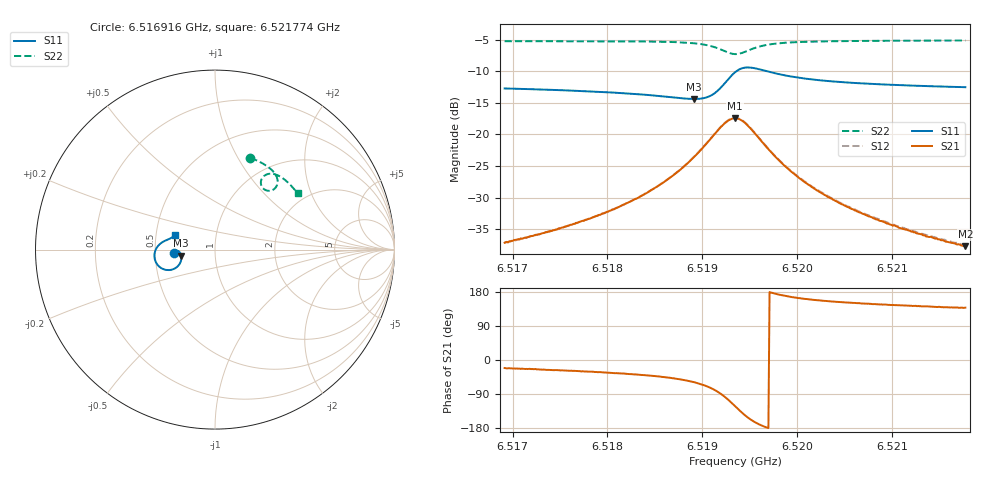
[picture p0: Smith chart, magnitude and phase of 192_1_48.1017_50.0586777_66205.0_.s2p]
#  HZ  S  RI  R  50.00
! Rohde & Schwarz Vector Network Analyzer
! Rohde-Schwarz,ZNB20-2Port,1311601062101988,3.16
! Created: UTC 12/23/2023, 3:53:51 AM
! freq[Hz]  re:S11  im:S11  re:S21  im:S21  re:S12  im:S12  re:S22  im:S22
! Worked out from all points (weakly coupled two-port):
!   401 points, 6.516916 GHz to 6.521774 GHz, reference 50 ohm
!   highest |S21| = -17.43 dB at 6.519345 GHz (marker M1); lowest = -37.7 dB at 6.521774 GHz (marker M2)
!   lowest |S11| = -14.4 dB at 6.518908 GHz (marker M3), VSWR 1.47, Z = 34.1 - j2.37 ohm
!   |S11| at or under -10 dB: start of sweep to 6.519357 GHz; 6.519687 GHz to end of sweep
!   |S22| runs from -7.3 to -5.1 dB; largest |S21 - S12| = 0.0041
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6.516916e9  -0.2309 -0.0186  0.0129 -0.00502  0.013 -0.00462  0.1973 0.5114
6.5173046e9  -0.2267 -0.0127  0.0148 -0.007  0.015 -0.00656  0.226 0.4998
6.5177297e9  -0.2208 -0.00757  0.0178 -0.0104  0.0181 -0.00961  0.2575 0.4842
6.5181669e9  -0.2125 -0.00534  0.0225 -0.0162  0.0229 -0.0154  0.2902 0.4644
6.5183248e9  -0.2085 -0.00589  0.0246 -0.0197  0.0255 -0.019  0.3024 0.4553
6.5185434e9  -0.2017 -0.00955  0.0287 -0.0272  0.0296 -0.0264  0.3195 0.4403
6.5187377e9  -0.1944 -0.0178  0.0327 -0.0384  0.0338 -0.0377  0.3344 0.4226
6.5189077e9  -0.1883 -0.0334  0.0346 -0.0557  0.0365 -0.055  0.3457 0.4001
6.519017e9  -0.1874 -0.0514  0.0322 -0.0735  0.0347 -0.0729  0.3491 0.3799
6.5191142e9  -0.1943 -0.0751  0.0221 -0.095  0.0252 -0.095  0.3446 0.3572
6.5192477e9  -0.2359 -0.1102  -0.0203 -0.1229  -0.0167 -0.1246  0.3131 0.3291
6.5193449e9  -0.2922 -0.1069  -0.0705 -0.1144  -0.0677 -0.1173  0.2744 0.3357
6.5193935e9  -0.3167 -0.0889  -0.0906 -0.096  -0.0883 -0.0993  0.2608 0.3513
6.5194542e9  -0.3341 -0.0582  -0.1026 -0.0675  -0.1014 -0.071  0.2552 0.3747
6.5195635e9  -0.3337 -0.00903  -0.0969 -0.0256  -0.097 -0.0285  0.2696 0.4068
6.5196728e9  -0.3176 0.02  -0.08 -0.00338  -0.0806 -0.00583  0.2921 0.4204
6.5198914e9  -0.2888 0.0439  -0.0533 0.0112  -0.0543 0.00958  0.3291 0.4211
6.5201586e9  -0.2674 0.0541  -0.0357 0.0137  -0.0364 0.0128  0.3595 0.409
6.520535e9  -0.2507 0.0613  -0.0234 0.0126  -0.024 0.0121  0.3902 0.3879
6.5209722e9  -0.2386 0.0677  -0.016 0.011  -0.0167 0.0107  0.4182 0.3622
6.5213609e9  -0.2307 0.0731  -0.0122 0.00963  -0.0128 0.00967  0.4395 0.3388
6.5217738e9  -0.2236 0.0789  -0.0097 0.00869  -0.00997 0.00869  0.4597 0.3133
